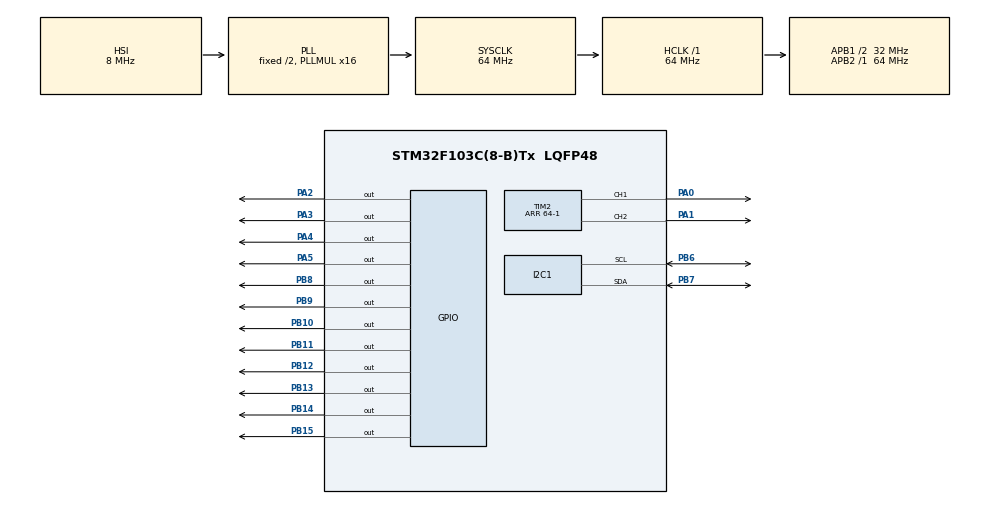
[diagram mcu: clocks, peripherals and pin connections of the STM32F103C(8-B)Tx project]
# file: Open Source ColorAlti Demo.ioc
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Dma.Request0=TIM2_CH2/CH4
Dma.TIM2_CH2/CH4.0.Direction=DMA_MEMORY_TO_PERIPH
Dma.TIM2_CH2/CH4.0.Instance=DMA1_Channel7
Dma.TIM2_CH2/CH4.0.MemDataAlignment=DMA_MDATAALIGN_HALFWORD
Dma.TIM2_CH2/CH4.0.MemInc=DMA_MINC_ENABLE
Dma.TIM2_CH2/CH4.0.Mode=DMA_NORMAL
Dma.TIM2_CH2/CH4.0.PeriphDataAlignment=DMA_PDATAALIGN_HALFWORD
Dma.TIM2_CH2/CH4.0.PeriphInc=DMA_PINC_DISABLE
Dma.TIM2_CH2/CH4.0.Priority=DMA_PRIORITY_LOW
Mcu.Family=STM32F1
Mcu.Name=STM32F103C(8-B)Tx
Mcu.Package=LQFP48
NVIC.DMA1_Channel7_IRQn=true\:0\:0\:false\:false\:true\:false\:true\:true
NVIC.PriorityGroup=NVIC_PRIORITYGROUP_4
PA0-WKUP.Signal=S_TIM2_CH1_ETR
PA1.Signal=S_TIM2_CH2
PA2.Signal=GPIO_Output
PA3.Signal=GPIO_Output
PA4.Signal=GPIO_Output
PA5.Signal=GPIO_Output
PB10.Signal=GPIO_Output
PB11.Signal=GPIO_Output
PB12.Signal=GPIO_Output
PB13.Signal=GPIO_Output
PB14.Signal=GPIO_Output
PB15.Signal=GPIO_Output
PB6.Mode=I2C
PB6.Signal=I2C1_SCL
PB7.Mode=I2C
PB7.Signal=I2C1_SDA
PB8.Signal=GPIO_Output
PB9.Signal=GPIO_Output
ProjectManager.HeapSize=0x200
ProjectManager.StackSize=0x400
ProjectManager.TargetToolchain=STM32CubeIDE
RCC.ADCPresc=RCC_ADCPCLK2_DIV6
RCC.AHBFreq_Value=64000000
RCC.APB1CLKDivider=RCC_HCLK_DIV2
RCC.APB1Freq_Value=32000000
RCC.APB1TimFreq_Value=64000000
RCC.APB2Freq_Value=64000000
RCC.APB2TimFreq_Value=64000000
RCC.HCLKFreq_Value=64000000
RCC.PLLMUL=RCC_PLL_MUL16
RCC.SYSCLKFreq_VALUE=64000000
RCC.SYSCLKSource=RCC_SYSCLKSOURCE_PLLCLK
RCC.USBFreq_Value=64000000
SH.S_TIM2_CH1_ETR.0=TIM2_CH1,PWM Generation1 CH1
SH.S_TIM2_CH2.0=TIM2_CH2,PWM Generation2 CH2
TIM1.Prescaler=4-1
TIM2.Channel-PWM\ Generation1\ CH1=TIM_CHANNEL_1
TIM2.Channel-PWM\ Generation2\ CH2=TIM_CHANNEL_2
TIM2.Period=64-1
VP_TIM1_VS_ClockSourceINT.Mode=Internal
VP_TIM2_VS_ClockSourceINT.Mode=Internal
board=custom

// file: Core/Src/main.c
/* USER CODE BEGIN Header */
/**
  ******************************************************************************
  * @file           : main.c
  * @brief          : Main program body
  ******************************************************************************
  * @attention
  *
  * Copyright (c) 2023 STMicroelectronics.
  * All rights reserved.
  *
  * This software is licensed under terms that can be found in the LICENSE file
  * in the root directory of this software component.
  * If no LICENSE file comes with this software, it is provided AS-IS.
  *
  ******************************************************************************
  */
/* USER CODE END Header */
#include "main.h"

/* USER CODE BEGIN Includes */
#include "led_strip.h"
/* USER CODE END Includes */

I2C_HandleTypeDef hi2c1;

TIM_HandleTypeDef htim1;
TIM_HandleTypeDef htim2;
DMA_HandleTypeDef hdma_tim2_ch2_ch4;

void SystemClock_Config(void);
static void MX_GPIO_Init(void);
static void MX_DMA_Init(void);
static void MX_I2C1_Init(void);
static void MX_TIM2_Init(void);
static void MX_TIM1_Init(void);

/* USER CODE BEGIN 0 */

void set_strip(uint16_t alt, uint16_t step)
{
	Strip_Clear();
	uint8_t num_led = 10;
	uint8_t state = 0;
	uint16_t exit = 12500;
	uint16_t breakoff = 5500;
	uint16_t deploy = 4500;
	if(alt > breakoff + 1500) state = 0; //Freefall
	else if(alt > breakoff) state = 1; //Pre breakoff
	else if(alt > breakoff - 500) state = 2; //Breakoff
	else if(alt > deploy) state = 3; //Track
	else state = 4;

	if(state == 0)
	{
		uint8_t leds = (num_led + 1) * (1-(float)(alt - (breakoff + 1500)) / (exit - (breakoff + 1500)));

		Strip_Progress_Bar_Single_Color(leds, SKYBLUE);
	}

	if(state == 1)
	{
		uint8_t leds = (num_led + 1) * (1-(float)(alt - breakoff) / ((breakoff + 1500) - breakoff));

		Strip_Progress_Bar_Single_Color(leds, GREEN);
	}

	if(state == 2)
	{
		uint8_t on = (step) % 2 == 0;
		if(on)
		{
			Strip_Progress_Bar_Single_Color(num_led, GREEN);
		}
	}

	if(state == 3)
	{
		uint8_t leds = (num_led + 1) * (1-(float)(alt - deploy) / ((deploy + 500) - deploy));

		Strip_Progress_Bar_Single_Color(leds, RED);
	}

	if(state == 4)
	{
		uint8_t on = (step) % 2 == 0;
		if(on)
		{
			Strip_Progress_Bar_Single_Color(num_led, RED);
		}
	}

	Strip_Send();

	//TODO: Detect if under canopy
	//Add blinking on ascent
	//Use actual altitude
}

/* USER CODE END 0 */

int main(void)
{

  /* MCU Configuration--------------------------------------------------------*/

  /* Reset of all peripherals, Initializes the Flash interface and the Systick. */
  HAL_Init();

  /* USER CODE BEGIN Init */
  Strip_Set_Timer(&htim2);
  Strip_Clear();

  /* USER CODE END Init */

  /* Configure the system clock */
  SystemClock_Config();

  /* Initialize all configured peripherals */
  MX_GPIO_Init();
  MX_DMA_Init();
  MX_I2C1_Init();
  MX_TIM2_Init();
  MX_TIM1_Init();

  /* Infinite loop */
  /* USER CODE BEGIN WHILE */
  HAL_Delay(10000);
  uint16_t j = 0;
  uint16_t alt = 12500;//12500;
  while (1)
  {
	Set_Brightness(20);
	set_strip(alt, j);
	//Standby mode for first 20 secs
	if(HAL_GetTick() > 20000) alt -= 20; //4x speed
	if(alt <= 0) alt = 12500;
	j++;
	HAL_Delay(100); //10hz
    /* USER CODE END WHILE */

  }
}

void SystemClock_Config(void)
{
  RCC_OscInitTypeDef RCC_OscInitStruct = {0};
  RCC_ClkInitTypeDef RCC_ClkInitStruct = {0};

  /** Initializes the RCC Oscillators according to the specified parameters
  * in the RCC_OscInitTypeDef structure.
  */
  RCC_OscInitStruct.OscillatorType = RCC_OSCILLATORTYPE_HSI;
  RCC_OscInitStruct.HSIState = RCC_HSI_ON;
  RCC_OscInitStruct.HSICalibrationValue = RCC_HSICALIBRATION_DEFAULT;
  RCC_OscInitStruct.PLL.PLLState = RCC_PLL_ON;
  RCC_OscInitStruct.PLL.PLLSource = RCC_PLLSOURCE_HSI_DIV2;
  RCC_OscInitStruct.PLL.PLLMUL = RCC_PLL_MUL16;
  if (HAL_RCC_OscConfig(&RCC_OscInitStruct) != HAL_OK)
  {
    Error_Handler();
  }

  /** Initializes the CPU, AHB and APB buses clocks
  */
  RCC_ClkInitStruct.ClockType = RCC_CLOCKTYPE_HCLK|RCC_CLOCKTYPE_SYSCLK
                              |RCC_CLOCKTYPE_PCLK1|RCC_CLOCKTYPE_PCLK2;
  RCC_ClkInitStruct.SYSCLKSource = RCC_SYSCLKSOURCE_PLLCLK;
  RCC_ClkInitStruct.AHBCLKDivider = RCC_SYSCLK_DIV1;
  RCC_ClkInitStruct.APB1CLKDivider = RCC_HCLK_DIV2;
  RCC_ClkInitStruct.APB2CLKDivider = RCC_HCLK_DIV1;

  if (HAL_RCC_ClockConfig(&RCC_ClkInitStruct, FLASH_LATENCY_2) != HAL_OK)
  {
    Error_Handler();
  }
}

static void MX_I2C1_Init(void)
{

  hi2c1.Instance = I2C1;
  hi2c1.Init.ClockSpeed = 100000;
  hi2c1.Init.DutyCycle = I2C_DUTYCYCLE_2;
  hi2c1.Init.OwnAddress1 = 0;
  hi2c1.Init.AddressingMode = I2C_ADDRESSINGMODE_7BIT;
  hi2c1.Init.DualAddressMode = I2C_DUALADDRESS_DISABLE;
  hi2c1.Init.OwnAddress2 = 0;
  hi2c1.Init.GeneralCallMode = I2C_GENERALCALL_DISABLE;
  hi2c1.Init.NoStretchMode = I2C_NOSTRETCH_DISABLE;
  if (HAL_I2C_Init(&hi2c1) != HAL_OK)
  {
    Error_Handler();
  }

}

static void MX_TIM1_Init(void)
{

  TIM_ClockConfigTypeDef sClockSourceConfig = {0};
  TIM_MasterConfigTypeDef sMasterConfig = {0};

  htim1.Instance = TIM1;
  htim1.Init.Prescaler = 4-1;
  htim1.Init.CounterMode = TIM_COUNTERMODE_UP;
  htim1.Init.Period = 65535;
  htim1.Init.ClockDivision = TIM_CLOCKDIVISION_DIV1;
  htim1.Init.RepetitionCounter = 0;
  htim1.Init.AutoReloadPreload = TIM_AUTORELOAD_PRELOAD_DISABLE;
  if (HAL_TIM_Base_Init(&htim1) != HAL_OK)
  {
    Error_Handler();
  }
  sClockSourceConfig.ClockSource = TIM_CLOCKSOURCE_INTERNAL;
  if (HAL_TIM_ConfigClockSource(&htim1, &sClockSourceConfig) != HAL_OK)
  {
    Error_Handler();
  }
  sMasterConfig.MasterOutputTrigger = TIM_TRGO_RESET;
  sMasterConfig.MasterSlaveMode = TIM_MASTERSLAVEMODE_DISABLE;
  if (HAL_TIMEx_MasterConfigSynchronization(&htim1, &sMasterConfig) != HAL_OK)
  {
    Error_Handler();
  }

}

static void MX_TIM2_Init(void)
{

  TIM_ClockConfigTypeDef sClockSourceConfig = {0};
  TIM_MasterConfigTypeDef sMasterConfig = {0};
  TIM_OC_InitTypeDef sConfigOC = {0};

  htim2.Instance = TIM2;
  htim2.Init.Prescaler = 0;
  htim2.Init.CounterMode = TIM_COUNTERMODE_UP;
  htim2.Init.Period = 64-1;
  htim2.Init.ClockDivision = TIM_CLOCKDIVISION_DIV1;
  htim2.Init.AutoReloadPreload = TIM_AUTORELOAD_PRELOAD_DISABLE;
  if (HAL_TIM_Base_Init(&htim2) != HAL_OK)
  {
    Error_Handler();
  }
  sClockSourceConfig.ClockSource = TIM_CLOCKSOURCE_INTERNAL;
  if (HAL_TIM_ConfigClockSource(&htim2, &sClockSourceConfig) != HAL_OK)
  {
    Error_Handler();
  }
  if (HAL_TIM_PWM_Init(&htim2) != HAL_OK)
  {
    Error_Handler();
  }
  sMasterConfig.MasterOutputTrigger = TIM_TRGO_RESET;
  sMasterConfig.MasterSlaveMode = TIM_MASTERSLAVEMODE_DISABLE;
  if (HAL_TIMEx_MasterConfigSynchronization(&htim2, &sMasterConfig) != HAL_OK)
  {
    Error_Handler();
  }
  sConfigOC.OCMode = TIM_OCMODE_PWM1;
  sConfigOC.Pulse = 0;
  sConfigOC.OCPolarity = TIM_OCPOLARITY_HIGH;
  sConfigOC.OCFastMode = TIM_OCFAST_DISABLE;
  if (HAL_TIM_PWM_ConfigChannel(&htim2, &sConfigOC, TIM_CHANNEL_1) != HAL_OK)
  {
    Error_Handler();
  }
  if (HAL_TIM_PWM_ConfigChannel(&htim2, &sConfigOC, TIM_CHANNEL_2) != HAL_OK)
  {
    Error_Handler();
  }
  HAL_TIM_MspPostInit(&htim2);

}

static void MX_DMA_Init(void)
{

  /* DMA controller clock enable */
  __HAL_RCC_DMA1_CLK_ENABLE();

  /* DMA interrupt init */
  /* DMA1_Channel7_IRQn interrupt configuration */
  HAL_NVIC_SetPriority(DMA1_Channel7_IRQn, 0, 0);
  HAL_NVIC_EnableIRQ(DMA1_Channel7_IRQn);

}

static void MX_GPIO_Init(void)
{
  GPIO_InitTypeDef GPIO_InitStruct = {0};

  /* GPIO Ports Clock Enable */
  __HAL_RCC_GPIOA_CLK_ENABLE();
  __HAL_RCC_GPIOB_CLK_ENABLE();

  /*Configure GPIO pin Output Level */
  HAL_GPIO_WritePin(GPIOA, GPIO_PIN_2|GPIO_PIN_3|GPIO_PIN_4|GPIO_PIN_5, GPIO_PIN_RESET);

  /*Configure GPIO pin Output Level */
  HAL_GPIO_WritePin(GPIOB, GPIO_PIN_10|GPIO_PIN_11|GPIO_PIN_12|GPIO_PIN_13
                          |GPIO_PIN_14|GPIO_PIN_15|GPIO_PIN_8|GPIO_PIN_9, GPIO_PIN_RESET);

  /*Configure GPIO pins : PA2 PA3 PA4 PA5 */
  GPIO_InitStruct.Pin = GPIO_PIN_2|GPIO_PIN_3|GPIO_PIN_4|GPIO_PIN_5;
  GPIO_InitStruct.Mode = GPIO_MODE_OUTPUT_PP;
  GPIO_InitStruct.Pull = GPIO_NOPULL;
  GPIO_InitStruct.Speed = GPIO_SPEED_FREQ_LOW;
  HAL_GPIO_Init(GPIOA, &GPIO_InitStruct);

  /*Configure GPIO pins : PB10 PB11 PB12 PB13
                           PB14 PB15 PB8 PB9 */
  GPIO_InitStruct.Pin = GPIO_PIN_10|GPIO_PIN_11|GPIO_PIN_12|GPIO_PIN_13
                          |GPIO_PIN_14|GPIO_PIN_15|GPIO_PIN_8|GPIO_PIN_9;
  GPIO_InitStruct.Mode = GPIO_MODE_OUTPUT_PP;
  GPIO_InitStruct.Pull = GPIO_NOPULL;
  GPIO_InitStruct.Speed = GPIO_SPEED_FREQ_LOW;
  HAL_GPIO_Init(GPIOB, &GPIO_InitStruct);

}

void Error_Handler(void)
{
  __disable_irq();
  while (1)
  {
  }
}
